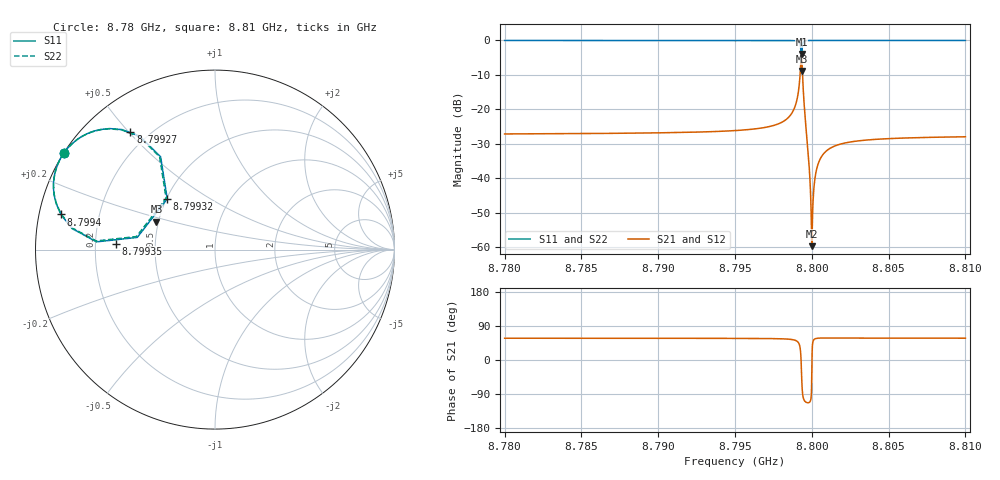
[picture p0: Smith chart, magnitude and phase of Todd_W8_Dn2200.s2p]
! Sonnet Data File
! From: emgraph Version : 16.52
! From Project: transmon_brgOdd
! Data is De-embedded
! Data File Written: 11/12/2017 17:05:33
!< HDATE 11/11/2017 22:57:51
!< MDATE 11/11/2017 22:57:51
!< PARAMS
!< Lj = 15.24
!< Gap = 6.0
!< Width = 10.0
!< Airgap = 6.0
!< Pwidth = 2000.0
!< Dist = 2200.0
!< END PARAMS
# GHZ S MA R 34.67000
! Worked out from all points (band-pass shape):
!   3001 points, 8.78 GHz to 8.81 GHz, reference 34.67 ohm
!   highest |S21| = -3.92 dB at 8.79933 GHz (marker M1); lowest = -59.8 dB at 8.8 GHz (marker M2)
!   |S21| within 3 dB of the highest: 8.799277 GHz to 8.799368 GHz (91.04 kHz wide, 0.00103 % of centre)
!   lowest |S11| = -8.8 dB at 8.79933 GHz (marker M3), VSWR 2.13, Z = 16.9 + j6.09 ohm
!   |S11| at or under -10 dB: nowhere
!   |S22| runs from -8.7 to 0.0 dB; largest |S21 - S12| = 0
!   S11 on the Smith chart (normalised r, x): 8.78 GHz: 0.00, +0.29; 8.79927 GHz: 0.13, +0.51; 8.79932 GHz: 0.50, +0.34; 8.79935 GHz: 0.29, +0.03; 8.7994 GHz: 0.06, +0.11; 8.81 GHz: 0.00, +0.29
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8.78  0.999 147.4  0.04386 57.4  0.04386 57.4  0.999 147.4
!< P1 F=8.78 Eeff=(5.13743391 -5.7017e-5) Z0=(34.6430374 -9.7216e-5) R=0.0 C=0.0
!< P2 F=8.78 Eeff=(5.13743391 -5.7017e-5) Z0=(34.6430374 -9.7216e-5) R=0.0 C=0.0
8.785  0.999 147.4  0.04441 57.4  0.04441 57.4  0.999 147.4
8.79  0.999 147.3  0.04551 57.3  0.04551 57.3  0.999 147.3
8.795  0.9988 147.1  0.04908 57.1  0.04908 57.1  0.9988 147.1
8.79839  0.9968 145.7  0.07289 55.3  0.07289 55.3  0.9968 145.7
8.79894  0.9903 143.2  0.1153 51.7  0.1153 51.7  0.9903 143.3
8.79915  0.9664 138.5  0.1964 44.5  0.1964 44.5  0.9666 138.6
8.79927  0.8079 125.7  0.4204 21.4  0.4204 21.4  0.809 126.0
8.79932  0.3888 133.2  0.6341 -20.0  0.6341 -20.0  0.3947 133.6
8.79933  0.3617 154.4  0.6367 -32.6  0.6367 -32.6  0.3683 154.2
8.79935  0.555 176.5  0.5589 -56.4  0.5589 -56.4  0.5585 176.0
8.7994  0.8806 167.2  0.3042 -88.8  0.3042 -88.8  0.8814 166.9
8.79953  0.9841 155.5  0.09734 -108.0  0.09734 -108.0  0.9843 155.4
8.79977  0.9974 151.2  0.02226 -112.7  0.02226 -112.7  0.9974 151.1
8.7999  0.9985 150.3  0.007632 -109.0  0.007632 -109.0  0.9986 150.3
8.8  0.999 149.9  0.001029 -34.2  0.001029 -34.2  0.999 149.9
8.8001  0.9992 149.6  0.005492 51.4  0.005492 51.4  0.9992 149.6
8.80023  0.9994 149.3  0.01079 56.2  0.01079 56.2  0.9994 149.2
8.80038  0.9995 149.0  0.01531 57.4  0.01531 57.4  0.9995 149.0
8.80096  0.9995 148.4  0.02498 58.0  0.02498 58.0  0.9995 148.4
8.805  0.9993 147.7  0.0375 57.7  0.0375 57.7  0.9993 147.7
8.81  0.9992 147.6  0.0399 57.6  0.0399 57.6  0.9992 147.6
